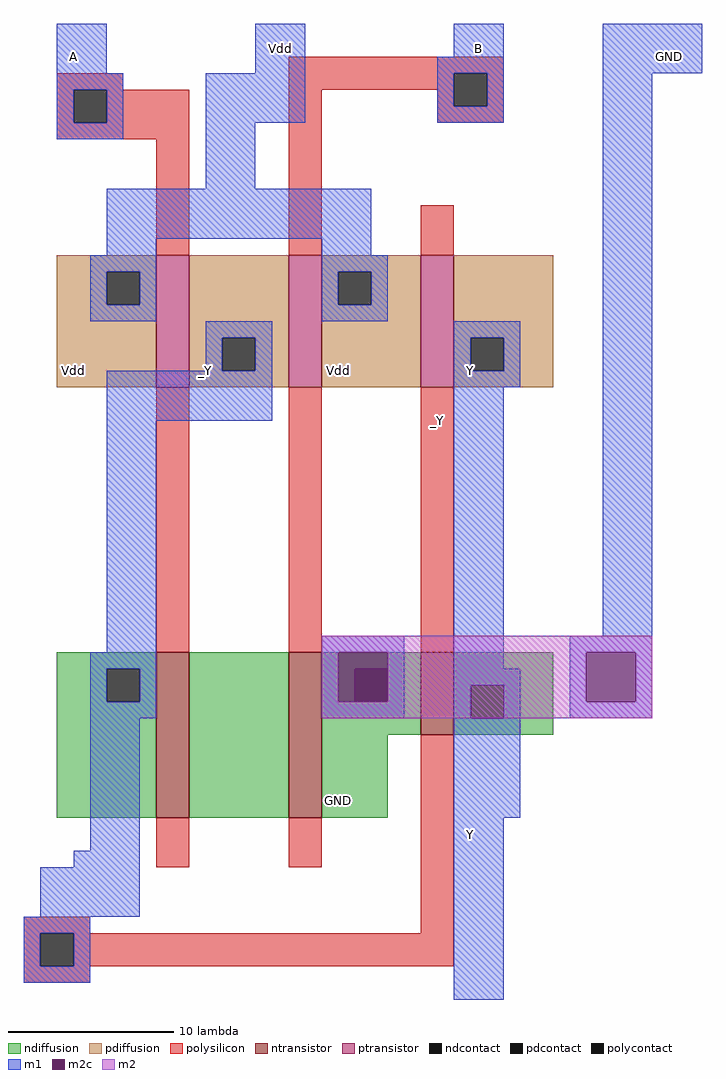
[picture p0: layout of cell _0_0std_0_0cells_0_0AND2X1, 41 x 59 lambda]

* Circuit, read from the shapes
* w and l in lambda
.subckt _0_0std_0_0cells_0_0AND2X1 GND Y A
M1 n1 A _Y VSUBS nfet w=10 l=2
M2 GND B n1 VSUBS nfet w=10 l=2
M3 Y _Y GND VSUBS nfet w=5 l=2
M4 _Y A Vdd NWELL pfet w=8 l=2
M5 Vdd B _Y NWELL pfet w=8 l=2
M6 Y _Y Vdd NWELL pfet w=8 l=2
.ends

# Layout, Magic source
magic
tech TSMC180
<< ndiffusion >>
rect 6 21 12 22
rect 6 19 9 21
rect 11 19 12 21
rect 6 12 12 19
rect 14 12 20 22
rect 22 21 28 22
rect 22 19 24 21
rect 26 19 28 21
rect 22 17 28 19
rect 30 20 36 22
rect 30 18 31 20
rect 33 18 36 20
rect 30 17 36 18
rect 22 12 26 17
<< ndcontact >>
rect 9 19 11 21
rect 24 19 26 21
rect 31 18 33 20
<< ntransistor >>
rect 12 12 14 22
rect 20 12 22 22
rect 28 17 30 22
<< pdiffusion >>
rect 6 45 12 46
rect 6 43 9 45
rect 11 43 12 45
rect 6 38 12 43
rect 14 41 20 46
rect 14 39 16 41
rect 18 39 20 41
rect 14 38 20 39
rect 22 45 28 46
rect 22 43 23 45
rect 25 43 28 45
rect 22 38 28 43
rect 30 41 36 46
rect 30 39 31 41
rect 33 39 36 41
rect 30 38 36 39
<< pdcontact >>
rect 9 43 11 45
rect 16 39 18 41
rect 23 43 25 45
rect 31 39 33 41
<< ptransistor >>
rect 12 38 14 46
rect 20 38 22 46
rect 28 38 30 46
<< polysilicon >>
rect 20 57 33 58
rect 6 56 10 57
rect 20 56 30 57
rect 6 54 7 56
rect 9 54 14 56
rect 6 53 14 54
rect 12 46 14 53
rect 20 46 22 56
rect 29 55 30 56
rect 32 55 33 57
rect 29 54 33 55
rect 28 46 30 49
rect 12 22 14 38
rect 20 22 22 38
rect 28 22 30 38
rect 12 9 14 12
rect 20 9 22 12
rect 4 5 8 6
rect 28 5 30 17
rect 4 3 5 5
rect 7 3 30 5
rect 4 2 8 3
<< polycontact >>
rect 7 54 9 56
rect 30 55 32 57
rect 5 3 7 5
<< m1 >>
rect 6 57 9 60
rect 18 57 21 60
rect 30 58 33 60
rect 6 56 10 57
rect 6 54 7 56
rect 9 54 10 56
rect 6 53 10 54
rect 15 54 21 57
rect 29 57 33 58
rect 29 55 30 57
rect 32 55 33 57
rect 29 54 33 55
rect 39 57 45 60
rect 15 50 18 54
rect 9 47 25 50
rect 9 46 12 47
rect 8 45 12 46
rect 8 43 9 45
rect 11 43 12 45
rect 8 42 12 43
rect 22 46 25 47
rect 22 45 26 46
rect 22 43 23 45
rect 25 43 26 45
rect 22 42 26 43
rect 15 41 19 42
rect 15 39 16 41
rect 18 39 19 41
rect 9 36 19 39
rect 30 41 34 42
rect 30 39 31 41
rect 33 39 34 41
rect 30 38 34 39
rect 9 22 12 36
rect 8 21 12 22
rect 8 19 9 21
rect 11 19 12 21
rect 8 18 12 19
rect 22 22 27 23
rect 22 19 23 22
rect 26 19 27 22
rect 22 18 27 19
rect 30 21 33 38
rect 39 23 42 57
rect 37 22 42 23
rect 30 20 34 21
rect 30 18 31 20
rect 33 18 34 20
rect 37 19 38 22
rect 41 19 42 22
rect 37 18 42 19
rect 8 10 11 18
rect 7 9 11 10
rect 5 6 11 9
rect 30 12 34 18
rect 4 5 8 6
rect 4 3 5 5
rect 7 3 8 5
rect 4 2 8 3
rect 30 1 33 12
<< m2c >>
rect 23 21 26 22
rect 23 19 24 21
rect 24 19 26 21
rect 38 19 41 22
<< m2 >>
rect 22 22 42 23
rect 22 19 23 22
rect 26 19 38 22
rect 41 19 42 22
rect 22 18 42 19
<< labels >>
rlabel polysilicon 29 36 29 36 3 _Y
rlabel pdiffusion 31 39 31 39 3 Y
rlabel ndiffusion 23 13 23 13 3 GND
rlabel pdiffusion 23 39 23 39 3 Vdd
rlabel pdiffusion 15 39 15 39 3 _Y
rlabel pdiffusion 7 39 7 39 3 Vdd
rlabel m1 43 58 43 58 3 GND
port 1 e
rlabel m1 7 58 7 58 3 A
port 5 e
rlabel m1 18 57 21 60 5 Vdd
rlabel m1 30 57 33 60 5 B
rlabel m1 31 11 31 11 3 Y
port 4 e
<< end >>
